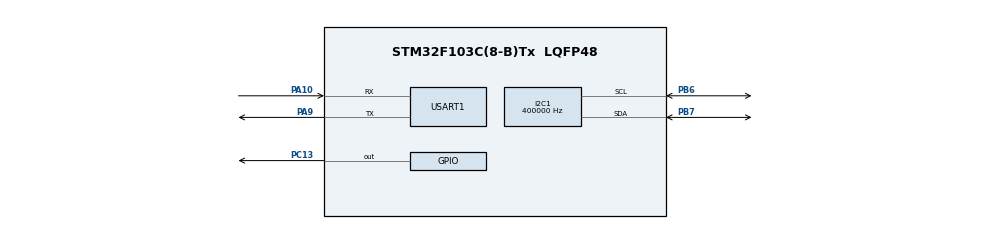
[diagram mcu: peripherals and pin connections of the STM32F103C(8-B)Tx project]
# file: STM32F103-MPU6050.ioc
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Dma.I2C1_TX.1.Direction=DMA_MEMORY_TO_PERIPH
Dma.I2C1_TX.1.Instance=DMA1_Channel6
Dma.I2C1_TX.1.MemDataAlignment=DMA_MDATAALIGN_BYTE
Dma.I2C1_TX.1.MemInc=DMA_MINC_ENABLE
Dma.I2C1_TX.1.Mode=DMA_NORMAL
Dma.I2C1_TX.1.PeriphDataAlignment=DMA_PDATAALIGN_BYTE
Dma.I2C1_TX.1.PeriphInc=DMA_PINC_DISABLE
Dma.I2C1_TX.1.Priority=DMA_PRIORITY_LOW
Dma.Request0=USART1_TX
Dma.Request1=I2C1_TX
Dma.USART1_TX.0.Direction=DMA_MEMORY_TO_PERIPH
Dma.USART1_TX.0.Instance=DMA1_Channel4
Dma.USART1_TX.0.MemDataAlignment=DMA_MDATAALIGN_BYTE
Dma.USART1_TX.0.MemInc=DMA_MINC_ENABLE
Dma.USART1_TX.0.Mode=DMA_NORMAL
Dma.USART1_TX.0.PeriphDataAlignment=DMA_PDATAALIGN_BYTE
Dma.USART1_TX.0.PeriphInc=DMA_PINC_DISABLE
Dma.USART1_TX.0.Priority=DMA_PRIORITY_LOW
FREERTOS.HEAP_NUMBER=1
FREERTOS.Mutexes01=sl_send_lock;dl_send_lock;ph_send_lock
FREERTOS.Tasks01=defaultTask,0,256,StartDefaultTask,Default,NULL,Dynamic,NULL,NULL;sendTask,0,256,StartSendTask,As external,NULL,Dynamic,NULL,NULL;receiveTask,0,256,StartReceiveTask,As external,NULL,Dynamic,NULL,NULL
FREERTOS.configMINIMAL_STACK_SIZE=256
FREERTOS.configTOTAL_HEAP_SIZE=4808
FREERTOS.configUSE_PREEMPTION=0
I2C1.ClockSpeed=400000
I2C1.I2C_Mode=I2C_Fast
Mcu.Family=STM32F1
Mcu.Name=STM32F103C(8-B)Tx
Mcu.Package=LQFP48
NVIC.DMA1_Channel4_IRQn=true\:5\:0\:false\:false\:true\:true
NVIC.DMA1_Channel6_IRQn=true\:5\:0\:false\:false\:true\:true
NVIC.I2C1_ER_IRQn=true\:5\:0\:false\:false\:true\:true
NVIC.I2C1_EV_IRQn=true\:5\:0\:false\:false\:true\:true
NVIC.PriorityGroup=NVIC_PRIORITYGROUP_4
NVIC.TIM1_UP_IRQn=true\:0\:0\:false\:false\:true\:false
NVIC.TimeBase=TIM1_UP_IRQn
NVIC.TimeBaseIP=TIM1
NVIC.USART1_IRQn=true\:5\:0\:false\:false\:true\:true
PA10.Mode=Multiprocessor_communication
PA10.Signal=USART1_RX
PA9.Mode=Multiprocessor_communication
PA9.Signal=USART1_TX
PB6.Mode=I2C
PB6.Signal=I2C1_SCL
PB7.Mode=I2C
PB7.Signal=I2C1_SDA
PC13-TAMPER-RTC.Signal=GPIO_Output
PD0-OSC_IN.Mode=HSE-External-Oscillator
PD0-OSC_IN.Signal=RCC_OSC_IN
PD1-OSC_OUT.Mode=HSE-External-Oscillator
PD1-OSC_OUT.Signal=RCC_OSC_OUT
ProjectManager.HeapSize=0x200
ProjectManager.StackSize=0x400
ProjectManager.TargetToolchain=SW4STM32
RCC.APB1Freq_Value=8000000
RCC.APB2Freq_Value=8000000
USART1.VirtualMode=VM_ASYNC
VP_FREERTOS_VS_ENABLE.Mode=Enabled
VP_SYS_VS_ND.Mode=No_Debug
VP_SYS_VS_tim1.Mode=TIM1
board=STM32F103-MPU6050

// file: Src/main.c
/**
  ******************************************************************************
  * File Name          : main.c
  * Description        : Main program body
  ******************************************************************************
  * This notice applies to any and all portions of this file
  * that are not between comment pairs USER CODE BEGIN and
  * USER CODE END. Other portions of this file, whether
  * inserted by the user or by software development tools
  * are owned by their respective copyright owners.
  *
  * Copyright (c) 2017 STMicroelectronics International N.V.
  * All rights reserved.
  *
  * Redistribution and use in source and binary forms, with or without
  * modification, are permitted, provided that the following conditions are met:
  *
  * 1. Redistribution of source code must retain the above copyright notice,
  *    this list of conditions and the following disclaimer.
  * 2. Redistributions in binary form must reproduce the above copyright notice,
  *    this list of conditions and the following disclaimer in the documentation
  *    and/or other materials provided with the distribution.
  * 3. Neither the name of STMicroelectronics nor the names of other
  *    contributors to this software may be used to endorse or promote products
  *    derived from this software without specific written permission.
  * 4. This software, including modifications and/or derivative works of this
  *    software, must execute solely and exclusively on microcontroller or
  *    microprocessor devices manufactured by or for STMicroelectronics.
  * 5. Redistribution and use of this software other than as permitted under
  *    this license is void and will automatically terminate your rights under
  *    this license.
  *
  * THIS SOFTWARE IS PROVIDED BY STMICROELECTRONICS AND CONTRIBUTORS "AS IS"
  * AND ANY EXPRESS, IMPLIED OR STATUTORY WARRANTIES, INCLUDING, BUT NOT
  * LIMITED TO, THE IMPLIED WARRANTIES OF MERCHANTABILITY, FITNESS FOR A
  * PARTICULAR PURPOSE AND NON-INFRINGEMENT OF THIRD PARTY INTELLECTUAL PROPERTY
  * RIGHTS ARE DISCLAIMED TO THE FULLEST EXTENT PERMITTED BY LAW. IN NO EVENT
  * SHALL STMICROELECTRONICS OR CONTRIBUTORS BE LIABLE FOR ANY DIRECT, INDIRECT,
  * INCIDENTAL, SPECIAL, EXEMPLARY, OR CONSEQUENTIAL DAMAGES (INCLUDING, BUT NOT
  * LIMITED TO, PROCUREMENT OF SUBSTITUTE GOODS OR SERVICES; LOSS OF USE, DATA,
  * OR PROFITS; OR BUSINESS INTERRUPTION) HOWEVER CAUSED AND ON ANY THEORY OF
  * LIABILITY, WHETHER IN CONTRACT, STRICT LIABILITY, OR TORT (INCLUDING
  * NEGLIGENCE OR OTHERWISE) ARISING IN ANY WAY OUT OF THE USE OF THIS SOFTWARE,
  * EVEN IF ADVISED OF THE POSSIBILITY OF SUCH DAMAGE.
  *
  ******************************************************************************
  */
#include "main.h"
#include "stm32f1xx_hal.h"
#include "cmsis_os.h"

/* USER CODE BEGIN Includes */
#include <string.h>

#include "SimCom.h"

#include "at24c32.h"
#include "mpu6050.h"

/* USER CODE END Includes */

I2C_HandleTypeDef hi2c1;
DMA_HandleTypeDef hdma_i2c1_tx;

UART_HandleTypeDef huart1;
DMA_HandleTypeDef hdma_usart1_tx;

osThreadId defaultTaskHandle;
osThreadId sendTaskHandle;
osThreadId receiveTaskHandle;
osMutexId sl_send_lockHandle;
osMutexId dl_send_lockHandle;
osMutexId ph_send_lockHandle;

/* USER CODE BEGIN PV */
/* Private variables ---------------------------------------------------------*/

/* USER CODE END PV */

void SystemClock_Config(void);
static void MX_GPIO_Init(void);
static void MX_DMA_Init(void);
static void MX_USART1_UART_Init(void);
static void MX_I2C1_Init(void);
void StartDefaultTask(void const * argument);
extern void StartSendTask(void const * argument);
extern void StartReceiveTask(void const * argument);

/* USER CODE BEGIN PFP */
/* Private function prototypes -----------------------------------------------*/

/* USER CODE END PFP */

int main(void)
{

  /* MCU Configuration----------------------------------------------------------*/

  /* Reset of all peripherals, Initializes the Flash interface and the Systick. */
  HAL_Init();

  /* Configure the system clock */
  SystemClock_Config();

  /* Initialize all configured peripherals */
  MX_GPIO_Init();
  MX_DMA_Init();
  MX_USART1_UART_Init();
  MX_I2C1_Init();

  /* USER CODE BEGIN 2 */
  simcom_init(&huart1);

  /* USER CODE END 2 */

  /* Create the mutex(es) */
  /* definition and creation of sl_send_lock */
  osMutexDef(sl_send_lock);
  sl_send_lockHandle = osMutexCreate(osMutex(sl_send_lock));

  /* definition and creation of dl_send_lock */
  osMutexDef(dl_send_lock);
  dl_send_lockHandle = osMutexCreate(osMutex(dl_send_lock));

  /* definition and creation of ph_send_lock */
  osMutexDef(ph_send_lock);
  ph_send_lockHandle = osMutexCreate(osMutex(ph_send_lock));

  /* Create the thread(s) */
  /* definition and creation of defaultTask */
  osThreadDef(defaultTask, StartDefaultTask, osPriorityNormal, 0, 256);
  defaultTaskHandle = osThreadCreate(osThread(defaultTask), NULL);

  /* definition and creation of sendTask */
  osThreadDef(sendTask, StartSendTask, osPriorityNormal, 0, 256);
  sendTaskHandle = osThreadCreate(osThread(sendTask), NULL);

  /* definition and creation of receiveTask */
  osThreadDef(receiveTask, StartReceiveTask, osPriorityNormal, 0, 256);
  receiveTaskHandle = osThreadCreate(osThread(receiveTask), NULL);

  /* Start scheduler */
  osKernelStart();

  /* We should never get here as control is now taken by the scheduler */

  /* Infinite loop */
  while (1)
  {

  }

}

/** System Clock Configuration
*/
void SystemClock_Config(void)
{

  RCC_OscInitTypeDef RCC_OscInitStruct;
  RCC_ClkInitTypeDef RCC_ClkInitStruct;

    /**Initializes the CPU, AHB and APB busses clocks
    */
  RCC_OscInitStruct.OscillatorType = RCC_OSCILLATORTYPE_HSI;
  RCC_OscInitStruct.HSIState = RCC_HSI_ON;
  RCC_OscInitStruct.HSICalibrationValue = 16;
  RCC_OscInitStruct.PLL.PLLState = RCC_PLL_NONE;
  if (HAL_RCC_OscConfig(&RCC_OscInitStruct) != HAL_OK)
  {
    _Error_Handler(__FILE__, __LINE__);
  }

    /**Initializes the CPU, AHB and APB busses clocks
    */
  RCC_ClkInitStruct.ClockType = RCC_CLOCKTYPE_HCLK|RCC_CLOCKTYPE_SYSCLK
                              |RCC_CLOCKTYPE_PCLK1|RCC_CLOCKTYPE_PCLK2;
  RCC_ClkInitStruct.SYSCLKSource = RCC_SYSCLKSOURCE_HSI;
  RCC_ClkInitStruct.AHBCLKDivider = RCC_SYSCLK_DIV1;
  RCC_ClkInitStruct.APB1CLKDivider = RCC_HCLK_DIV1;
  RCC_ClkInitStruct.APB2CLKDivider = RCC_HCLK_DIV1;

  if (HAL_RCC_ClockConfig(&RCC_ClkInitStruct, FLASH_LATENCY_0) != HAL_OK)
  {
    _Error_Handler(__FILE__, __LINE__);
  }

    /**Configure the Systick interrupt time
    */
  HAL_SYSTICK_Config(HAL_RCC_GetHCLKFreq()/1000);

    /**Configure the Systick
    */
  HAL_SYSTICK_CLKSourceConfig(SYSTICK_CLKSOURCE_HCLK);

  /* SysTick_IRQn interrupt configuration */
  HAL_NVIC_SetPriority(SysTick_IRQn, 15, 0);
}

/* I2C1 init function */
static void MX_I2C1_Init(void)
{

  hi2c1.Instance = I2C1;
  hi2c1.Init.ClockSpeed = 400000;
  hi2c1.Init.DutyCycle = I2C_DUTYCYCLE_2;
  hi2c1.Init.OwnAddress1 = 0;
  hi2c1.Init.AddressingMode = I2C_ADDRESSINGMODE_7BIT;
  hi2c1.Init.DualAddressMode = I2C_DUALADDRESS_DISABLE;
  hi2c1.Init.OwnAddress2 = 0;
  hi2c1.Init.GeneralCallMode = I2C_GENERALCALL_DISABLE;
  hi2c1.Init.NoStretchMode = I2C_NOSTRETCH_DISABLE;
  if (HAL_I2C_Init(&hi2c1) != HAL_OK)
  {
    _Error_Handler(__FILE__, __LINE__);
  }

}

/* USART1 init function */
static void MX_USART1_UART_Init(void)
{

  huart1.Instance = USART1;
  huart1.Init.BaudRate = 115200;
  huart1.Init.WordLength = UART_WORDLENGTH_8B;
  huart1.Init.StopBits = UART_STOPBITS_1;
  huart1.Init.Parity = UART_PARITY_NONE;
  huart1.Init.Mode = UART_MODE_TX_RX;
  huart1.Init.HwFlowCtl = UART_HWCONTROL_NONE;
  huart1.Init.OverSampling = UART_OVERSAMPLING_16;
  if (HAL_MultiProcessor_Init(&huart1, 0, UART_WAKEUPMETHOD_IDLELINE) != HAL_OK)
  {
    _Error_Handler(__FILE__, __LINE__);
  }

}

static void MX_DMA_Init(void)
{
  /* DMA controller clock enable */
  __HAL_RCC_DMA1_CLK_ENABLE();

  /* DMA interrupt init */
  /* DMA1_Channel4_IRQn interrupt configuration */
  HAL_NVIC_SetPriority(DMA1_Channel4_IRQn, 5, 0);
  HAL_NVIC_EnableIRQ(DMA1_Channel4_IRQn);
  /* DMA1_Channel6_IRQn interrupt configuration */
  HAL_NVIC_SetPriority(DMA1_Channel6_IRQn, 5, 0);
  HAL_NVIC_EnableIRQ(DMA1_Channel6_IRQn);

}

/** Configure pins as
        * Analog
        * Input
        * Output
        * EVENT_OUT
        * EXTI
*/
static void MX_GPIO_Init(void)
{

  GPIO_InitTypeDef GPIO_InitStruct;

  /* GPIO Ports Clock Enable */
  __HAL_RCC_GPIOC_CLK_ENABLE();
  __HAL_RCC_GPIOD_CLK_ENABLE();
  __HAL_RCC_GPIOA_CLK_ENABLE();
  __HAL_RCC_GPIOB_CLK_ENABLE();

  /*Configure GPIO pin Output Level */
  HAL_GPIO_WritePin(GPIOC, GPIO_PIN_13, GPIO_PIN_RESET);

  /*Configure GPIO pin : PC13 */
  GPIO_InitStruct.Pin = GPIO_PIN_13;
  GPIO_InitStruct.Mode = GPIO_MODE_OUTPUT_PP;
  GPIO_InitStruct.Speed = GPIO_SPEED_FREQ_LOW;
  HAL_GPIO_Init(GPIOC, &GPIO_InitStruct);

}

/* USER CODE BEGIN 4 */
char data[50] = {0};

/* USER CODE END 4 */

/* StartDefaultTask function */
void StartDefaultTask(void const * argument)
{

  /* USER CODE BEGIN 5 */
  char *msg;
  struct kine_state ks = {0};

  mpu6050_init(&hi2c1);

  at24c32_init(&hi2c1);

  arduinolcd_init(&hi2c1);

  /* Infinite loop */
  for(int i = 0;; i++)
  {
	  HAL_GPIO_WritePin(GPIOC, GPIO_PIN_13, 0);
	  osDelay(500);

	  ks = mpu6050_get_kine_state(&ks);
	  msg = (char*)(&(ks.ax));

	  sl_send(0, 0, msg, 12);

	  arduinolcd_write("Hello,World!", 12);

	  HAL_GPIO_WritePin(GPIOC, GPIO_PIN_13, 1);
	  osDelay(500);

	  at24c32_write(i, "hello", 5);
	  at24c32_read(i, data, 50);
	  sl_send(0, 1, data, 50);
  }
  /* USER CODE END 5 */
}

void HAL_TIM_PeriodElapsedCallback(TIM_HandleTypeDef *htim)
{
  if (htim->Instance == TIM1) {
    HAL_IncTick();
  }
}

void _Error_Handler(char * file, int line)
{
  while(1)
  {
  }
}

/************************ (C) COPYRIGHT STMicroelectronics *****END OF FILE****/
